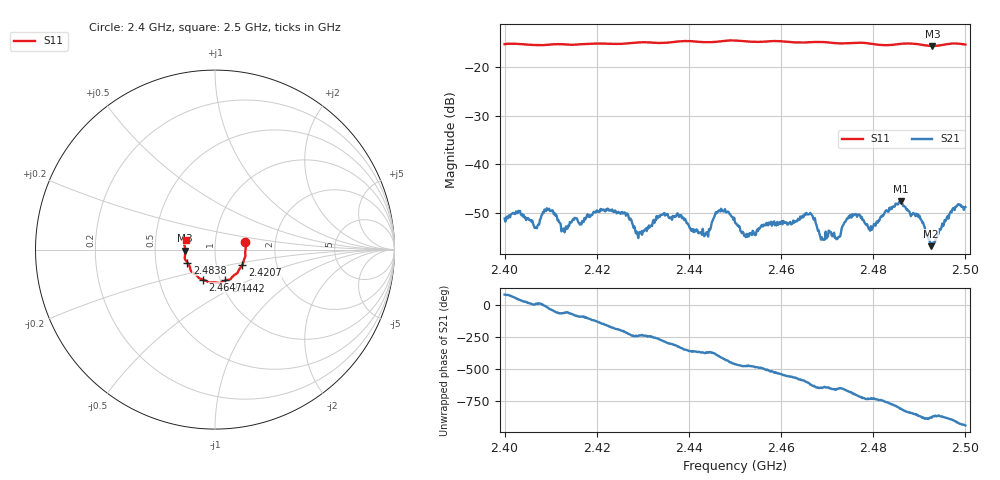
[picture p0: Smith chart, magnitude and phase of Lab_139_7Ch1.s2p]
# Hz S RI R 50
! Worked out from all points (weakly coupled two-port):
!   601 points, 2.4 GHz to 2.5 GHz, reference 50 ohm
!   highest |S21| = -47.57 dB at 2.486 GHz (marker M1); lowest = -56.8 dB at 2.4925 GHz (marker M2)
!   lowest |S11| = -15.6 dB at 2.4928 GHz (marker M3), VSWR 1.40, Z = 35.8 - j0.395 ohm
!   |S11| at or under -10 dB: start of sweep to end of sweep
!   S12 and S22 are empty: the file has one direction only
!   S11 on the Smith chart (normalised r, x): 2.4 GHz: 1.40, +0.12; 2.4207 GHz: 1.33, -0.24; 2.4442 GHz: 1.05, -0.37; 2.4647 GHz: 0.83, -0.29; 2.4838 GHz: 0.73, -0.11; 2.5 GHz: 0.72, +0.08
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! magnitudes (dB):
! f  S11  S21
! 2.4 GHz  -15.2  -51.1
! 2.4167 GHz  -15.3  -52.3
! 2.4207 GHz  -15.1  -49.7
! 2.4263 GHz  -15.1  -50.5
! 2.429 GHz  -14.9  -55.1
! 2.4333 GHz  -15.0  -50.9
! 2.4442 GHz  -14.9  -54.8
! 2.4467 GHz  -14.7  -49.4
! 2.45 GHz  -14.5  -51.9
! 2.4525 GHz  -14.7  -54.3
! 2.4647 GHz  -14.9  -50.5
! 2.4667 GHz  -14.8  -50.4
! 2.469 GHz  -14.8  -55.4
! 2.4722 GHz  -15.1  -55.4
! 2.475 GHz  -15.0  -50.4
! 2.4795 GHz  -15.1  -52.7
! 2.4833 GHz  -15.4  -49.7
! 2.4838 GHz  -15.4  -48.8
! 2.486 GHz  -15.2  -47.6
! 2.4925 GHz  -15.6  -56.8
! 2.4928 GHz  -15.6  -56.1
! 2.5 GHz  -15.3  -48.7
